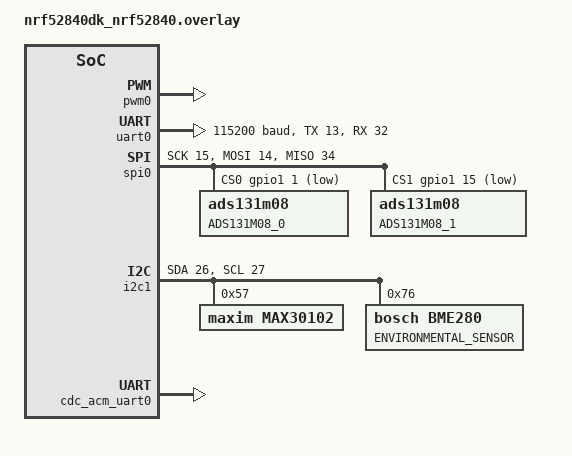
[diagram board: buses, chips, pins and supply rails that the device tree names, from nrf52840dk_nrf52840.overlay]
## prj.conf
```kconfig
CONFIG_INIT_STACKS=y
CONFIG_THREAD_STACK_INFO=y
CONFIG_MAIN_STACK_SIZE=2048
CONFIG_SYSTEM_WORKQUEUE_STACK_SIZE=4096
CONFIG_BT_RX_STACK_SIZE=4096

# PWM
CONFIG_PWM=y
CONFIG_PWM_NRF5_SW=n
CONFIG_PWM_NRFX=y


CONFIG_GPIO=y
CONFIG_SPI=y
#CONFIG_SPI_0=y

# choose UART console
CONFIG_UART_CONSOLE=y

# Debug config
CONFIG_LOG=y
CONFIG_LOG_BUFFER_SIZE=2048
CONFIG_LOG_DEFAULT_LEVEL=4
# RTT Viewer
CONFIG_USE_SEGGER_RTT=y
CONFIG_LOG_BACKEND_RTT=y
#CONFIG_LOG_BACKEND_RTT_MODE_DROP=y
CONFIG_LOG_PRINTK=y

# BLE
CONFIG_BT=y
#CONFIG_BT_DEBUG_LOG=y
CONFIG_BT_PERIPHERAL=y
CONFIG_BT_CENTRAL=y
CONFIG_BT_DEVICE_NAME="BT840"
CONFIG_BT_GATT_CLIENT=y
CONFIG_BT_HCI_ACL_FLOW_CONTROL=y
CONFIG_BT_USER_PHY_UPDATE=y
CONFIG_BT_CTLR_PHY_2M=y
CONFIG_BT_CTLR_PHY_CODED=n
CONFIG_BT_ATT_PREPARE_COUNT=10
CONFIG_BT_CONN_TX_MAX=10
CONFIG_BT_L2CAP_TX_BUF_COUNT=10
CONFIG_BT_BUF_ACL_TX_SIZE=250
CONFIG_BT_BUF_ACL_RX_SIZE=250
CONFIG_BT_L2CAP_TX_MTU=250

# C++
CONFIG_CPLUSPLUS=y
CONFIG_LIB_CPLUSPLUS=y
CONFIG_NEWLIB_LIBC=y
#if  printf should be able to print float
CONFIG_NEWLIB_LIBC_FLOAT_PRINTF=y

#MAX30102
CONFIG_I2C=y

#BME280
CONFIG_SENSOR=y
CONFIG_BME280=y

#I2S AudioModule
CONFIG_I2S=y

# Digital Microphone (DMIC) Module
CONFIG_AUDIO=y
CONFIG_AUDIO_DMIC=y

# For FFT implementation
CONFIG_CMSIS_DSP=y
CONFIG_CMSIS_DSP_TRANSFORM=y
CONFIG_CMSIS_DSP_COMPLEXMATH=y
CONFIG_NEWLIB_LIBC=y
CONFIG_FPU=y

#USB transfer
CONFIG_USB_DEVICE_STACK=y
CONFIG_USB_DEVICE_PRODUCT="BT840"
# CONFIG_USB_DRIVER_LOG_LEVEL_ERR=y
# CONFIG_USB_DEVICE_LOG_LEVEL_ERR=y
CONFIG_SERIAL=y
# CONFIG_UART_CONSOLE=y
CONFIG_CONSOLE=n
CONFIG_UART_LINE_CTRL=y
CONFIG_UART_ASYNC_API=y
#CONFIG_UART_INTERRUPT_DRIVEN=y

CONFIG_HEAP_MEM_POOL_SIZE=2048

# Needed for FOTA
########################################################
# Enable mcumgr.
CONFIG_MCUMGR=y

# Ensure an MCUboot-compatible binary is generated.
CONFIG_BOOTLOADER_MCUBOOT=y
#CONFIG_NCS_SAMPLE_MCUMGR_BT_OTA_DFU=y

# Enable most core commands.
CONFIG_MCUMGR_CMD_IMG_MGMT=y
CONFIG_MCUMGR_CMD_OS_MGMT=y

# MCUboot log level
CONFIG_MCUBOOT_UTIL_LOG_LEVEL_WRN=y

# Allow for large Bluetooth data packets.
CONFIG_BT_L2CAP_TX_MTU=252
CONFIG_BT_BUF_ACL_RX_SIZE=256

# Enable the Bluetooth (unauthenticated) and shell mcumgr transports.
CONFIG_MCUMGR_SMP_BT=y
CONFIG_MCUMGR_SMP_BT_AUTHEN=n
CONFIG_MCUMGR_SMP_BT_CONN_PARAM_CONTROL=y
########################################################
```

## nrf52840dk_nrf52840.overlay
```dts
// To get started, press Ctrl+Space to bring up the completion menu and view the available nodes.
// For more help, browse the DeviceTree documentation at https: //docs.zephyrproject.org/latest/guides/dts/index.html

&pwm0 {
	status = "okay";
	ch0-pin = <37>;
	//ch0-inverted;
};

&uart0 {
    status = "okay";
    current-speed = <115200>;
    tx-pin = <13>; //15 (BC840M), 13 (BT840)
    rx-pin = <32>; //14 (BC840M), 32 (BT840)
    rts-pin = <0xFFFFFFFF>;
    cts-pin = <0xFFFFFFFF>;
};

&spi0 {
    compatible = "nordic,nrf-spim";
    status = "okay";
    sck-pin =  <15>;         //44 (BC840M),  15 (BT840)
    mosi-pin = <14>; //DIN   //35 (BC840M),  14 (BT840)
    miso-pin = <34>; //DOUT  //34 (BC840M),  34 (BT840)
    cs-gpios = <&gpio1 1 GPIO_ACTIVE_LOW>, <&gpio1 15 GPIO_ACTIVE_LOW>; //1.15 and 1.10 (BC840M), 1.01 and 1.15 (BT840)

    ads131m08_0: ads131m08@0 {
        status = "okay";
        reg = <0>;
        label = "ADS131M08_0";
    };

    ads131m08_1: ads131m08@1 {
        status = "okay";
        reg = <1>;
        label = "ADS131M08_1";
    };
};

&spi1 {
    status = "disabled";
};

&i2c0 {
    status = "disabled";
};

&i2c1 {
    status = "okay";
    sda-pin = <26>; //5 (BC840M), 26 (BT840)
    scl-pin = <27>; //3 (BC840M), 27 (BT840)
    max30102@57 {
        compatible = "maxim,max30102";
        label = "MAX30102";
        reg = <0x57>;
        mode = <2>;
        status = "okay";
    };
    bme280: bme280@76 {
        /* 0x76 - SDO <-> GND */
        /* 0x77 - SDO <-> VCC */
        compatible = "bosch,bme280";
        reg = <0x76>;
        label = "ENVIRONMENTAL_SENSOR";
    };
};

&zephyr_udc0 {
    cdc_acm_uart0 {
        compatible = "zephyr,cdc-acm-uart";
        label = "CDC_ACM_0";
    };
};


// &clock {
//     hfclkaudio-frequency = <11289600>;
// };

// i2s_rxtx: &i2s0 {
//     status = "okay";
//     sck-pin = <45>;
//     lrck-pin = <46>;
//     sdout-pin = <4>;
//     sdin-pin = <42>;
//     clock-source = "ACLK";
// };

// dmic_dev: &pdm0 {
// 	status = "okay";
// 	clk-pin = <40>;
// 	din-pin = <35>;
// 	clock-source = "ACLK";
// };
```

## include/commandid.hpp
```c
#pragma once

#include <stddef.h>

/**
 * @brief Ids for commands sent via ble Gatt control characteristic
 */
enum class CommandId : uint8_t
{
    Ads131m08Cmd = 1,
    Bme280Cmd = 2,
    Max30102Cmd = 3,
    Mpu6050Cmd = 4,
    Qmc5883lCmd = 5,
    AlarmCmd = 6,  ///< Start/Stop playing Alarm
    DmicCmd = 7,   ///< Commands for Digital Microphone (DMIC)
    BleCmd = 8,    ///< Command for start/stop looking for iBeacon devices
    SystemCmd = 9, ///< For sending commands on the app/system level from where we can control every sensor/module
};
```

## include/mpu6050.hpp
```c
#pragma once

#include <zephyr/types.h>
#include <device.h>
#include <drivers/gpio.h>
//#include <drivers/i2c.h>
#include <sys/util.h>
#include <atomic>
#include "i2c_transport.hpp"
#include "device_string.hpp"
#include "ble_types.hpp"
#include "ble_commands.hpp"

class UsbCommHandler;

#define MPU6050_ADDRESS_AD0_LOW     0x68 // address pin low (GND), default for InvenSense evaluation board
#define MPU6050_ADDRESS_AD0_HIGH    0x69 // address pin high (VCC)
#define MPU6050_DEFAULT_ADDRESS     MPU6050_ADDRESS_AD0_LOW

#define MPU6050_RA_XG_OFFS_TC       0x00 //[7] PWR_MODE, [6:1] XG_OFFS_TC, [0] OTP_BNK_VLD
#define MPU6050_RA_YG_OFFS_TC       0x01 //[7] PWR_MODE, [6:1] YG_OFFS_TC, [0] OTP_BNK_VLD
#define MPU6050_RA_ZG_OFFS_TC       0x02 //[7] PWR_MODE, [6:1] ZG_OFFS_TC, [0] OTP_BNK_VLD
#define MPU6050_RA_X_FINE_GAIN      0x03 //[7:0] X_FINE_GAIN
#define MPU6050_RA_Y_FINE_GAIN      0x04 //[7:0] Y_FINE_GAIN
#define MPU6050_RA_Z_FINE_GAIN      0x05 //[7:0] Z_FINE_GAIN
#define MPU6050_RA_XA_OFFS_H        0x06 //[15:0] XA_OFFS
#define MPU6050_RA_XA_OFFS_L_TC     0x07
#define MPU6050_RA_YA_OFFS_H        0x08 //[15:0] YA_OFFS
#define MPU6050_RA_YA_OFFS_L_TC     0x09
#define MPU6050_RA_ZA_OFFS_H        0x0A //[15:0] ZA_OFFS
#define MPU6050_RA_ZA_OFFS_L_TC     0x0B
#define MPU6050_RA_SELF_TEST_X      0x0D //[7:5] XA_TEST[4-2], [4:0] XG_TEST[4-0]
#define MPU6050_RA_SELF_TEST_Y      0x0E //[7:5] YA_TEST[4-2], [4:0] YG_TEST[4-0]
#define MPU6050_RA_SELF_TEST_Z      0x0F //[7:5] ZA_TEST[4-2], [4:0] ZG_TEST[4-0]
#define MPU6050_RA_SELF_TEST_A      0x10 //[5:4] XA_TEST[1-0], [3:2] YA_TEST[1-0], [1:0] ZA_TEST[1-0]
#define MPU6050_RA_XG_OFFS_USRH     0x13 //[15:0] XG_OFFS_USR
#define MPU6050_RA_XG_OFFS_USRL     0x14
#define MPU6050_RA_YG_OFFS_USRH     0x15 //[15:0] YG_OFFS_USR
#define MPU6050_RA_YG_OFFS_USRL     0x16
#define MPU6050_RA_ZG_OFFS_USRH     0x17 //[15:0] ZG_OFFS_USR
#define MPU6050_RA_ZG_OFFS_USRL     0x18
#define MPU6050_RA_SMPLRT_DIV       0x19
#define MPU6050_RA_CONFIG           0x1A
#define MPU6050_RA_GYRO_CONFIG      0x1B
#define MPU6050_RA_ACCEL_CONFIG     0x1C
#define MPU6050_RA_FF_THR           0x1D
#define MPU6050_RA_FF_DUR           0x1E
#define MPU6050_RA_MOT_THR          0x1F
#define MPU6050_RA_MOT_DUR          0x20
#define MPU6050_RA_ZRMOT_THR        0x21
#define MPU6050_RA_ZRMOT_DUR        0x22
#define MPU6050_RA_FIFO_EN          0x23
#define MPU6050_RA_I2C_MST_CTRL     0x24
#define MPU6050_RA_I2C_SLV0_ADDR    0x25
#define MPU6050_RA_I2C_SLV0_REG     0x26
#define MPU6050_RA_I2C_SLV0_CTRL    0x27
#define MPU6050_RA_I2C_SLV1_ADDR    0x28
#define MPU6050_RA_I2C_SLV1_REG     0x29
#define MPU6050_RA_I2C_SLV1_CTRL    0x2A
#define MPU6050_RA_I2C_SLV2_ADDR    0x2B
#define MPU6050_RA_I2C_SLV2_REG     0x2C
#define MPU6050_RA_I2C_SLV2_CTRL    0x2D
#define MPU6050_RA_I2C_SLV3_ADDR    0x2E
#define MPU6050_RA_I2C_SLV3_REG     0x2F
#define MPU6050_RA_I2C_SLV3_CTRL    0x30
#define MPU6050_RA_I2C_SLV4_ADDR    0x31
#define MPU6050_RA_I2C_SLV4_REG     0x32
#define MPU6050_RA_I2C_SLV4_DO      0x33
#define MPU6050_RA_I2C_SLV4_CTRL    0x34
#define MPU6050_RA_I2C_SLV4_DI      0x35
#define MPU6050_RA_I2C_MST_STATUS   0x36
#define MPU6050_RA_INT_PIN_CFG      0x37
#define MPU6050_RA_INT_ENABLE       0x38
#define MPU6050_RA_DMP_INT_STATUS   0x39
#define MPU6050_RA_INT_STATUS       0x3A
#define MPU6050_RA_ACCEL_XOUT_H     0x3B
#define MPU6050_RA_ACCEL_XOUT_L     0x3C
#define MPU6050_RA_ACCEL_YOUT_H     0x3D
#define MPU6050_RA_ACCEL_YOUT_L     0x3E
#define MPU6050_RA_ACCEL_ZOUT_H     0x3F
#define MPU6050_RA_ACCEL_ZOUT_L     0x40
#define MPU6050_RA_TEMP_OUT_H       0x41
#define MPU6050_RA_TEMP_OUT_L       0x42
#define MPU6050_RA_GYRO_XOUT_H      0x43
#define MPU6050_RA_GYRO_XOUT_L      0x44
#define MPU6050_RA_GYRO_YOUT_H      0x45
#define MPU6050_RA_GYRO_YOUT_L      0x46
#define MPU6050_RA_GYRO_ZOUT_H      0x47
#define MPU6050_RA_GYRO_ZOUT_L      0x48
#define MPU6050_RA_EXT_SENS_DATA_00 0x49
#define MPU6050_RA_EXT_SENS_DATA_01 0x4A
#define MPU6050_RA_EXT_SENS_DATA_02 0x4B
#define MPU6050_RA_EXT_SENS_DATA_03 0x4C
#define MPU6050_RA_EXT_SENS_DATA_04 0x4D
#define MPU6050_RA_EXT_SENS_DATA_05 0x4E
#define MPU6050_RA_EXT_SENS_DATA_06 0x4F
#define MPU6050_RA_EXT_SENS_DATA_07 0x50
#define MPU6050_RA_EXT_SENS_DATA_08 0x51
#define MPU6050_RA_EXT_SENS_DATA_09 0x52
#define MPU6050_RA_EXT_SENS_DATA_10 0x53
#define MPU6050_RA_EXT_SENS_DATA_11 0x54
#define MPU6050_RA_EXT_SENS_DATA_12 0x55
#define MPU6050_RA_EXT_SENS_DATA_13 0x56
#define MPU6050_RA_EXT_SENS_DATA_14 0x57
#define MPU6050_RA_EXT_SENS_DATA_15 0x58
#define MPU6050_RA_EXT_SENS_DATA_16 0x59
#define MPU6050_RA_EXT_SENS_DATA_17 0x5A
#define MPU6050_RA_EXT_SENS_DATA_18 0x5B
#define MPU6050_RA_EXT_SENS_DATA_19 0x5C
#define MPU6050_RA_EXT_SENS_DATA_20 0x5D
#define MPU6050_RA_EXT_SENS_DATA_21 0x5E
#define MPU6050_RA_EXT_SENS_DATA_22 0x5F
#define MPU6050_RA_EXT_SENS_DATA_23 0x60
#define MPU6050_RA_MOT_DETECT_STATUS    0x61
#define MPU6050_RA_I2C_SLV0_DO      0x63
#define MPU6050_RA_I2C_SLV1_DO      0x64
#define MPU6050_RA_I2C_SLV2_DO      0x65
#define MPU6050_RA_I2C_SLV3_DO      0x66
#define MPU6050_RA_I2C_MST_DELAY_CTRL   0x67
#define MPU6050_RA_SIGNAL_PATH_RESET    0x68
#define MPU6050_RA_MOT_DETECT_CTRL      0x69
#define MPU6050_RA_USER_CTRL        0x6A
#define MPU6050_RA_PWR_MGMT_1       0x6B
#define MPU6050_RA_PWR_MGMT_2       0x6C
#define MPU6050_RA_BANK_SEL         0x6D
#define MPU6050_RA_MEM_START_ADDR   0x6E
#define MPU6050_RA_MEM_R_W          0x6F
#define MPU6050_RA_DMP_CFG_1        0x70
#define MPU6050_RA_DMP_CFG_2        0x71
#define MPU6050_RA_FIFO_COUNTH      0x72
#define MPU6050_RA_FIFO_COUNTL      0x73
#define MPU6050_RA_FIFO_R_W         0x74
#define MPU6050_RA_WHO_AM_I         0x75

#define MPU6050_SELF_TEST_XA_1_BIT     0x07
#define MPU6050_SELF_TEST_XA_1_LENGTH  0x03
#define MPU6050_SELF_TEST_XA_2_BIT     0x05
#define MPU6050_SELF_TEST_XA_2_LENGTH  0x02
#define MPU6050_SELF_TEST_YA_1_BIT     0x07
#define MPU6050_SELF_TEST_YA_1_LENGTH  0x03
#define MPU6050_SELF_TEST_YA_2_BIT     0x03
#define MPU6050_SELF_TEST_YA_2_LENGTH  0x02
#define MPU6050_SELF_TEST_ZA_1_BIT     0x07
#define MPU6050_SELF_TEST_ZA_1_LENGTH  0x03
#define MPU6050_SELF_TEST_ZA_2_BIT     0x01
#define MPU6050_SELF_TEST_ZA_2_LENGTH  0x02

#define MPU6050_SELF_TEST_XG_1_BIT     0x04
#define MPU6050_SELF_TEST_XG_1_LENGTH  0x05
#define MPU6050_SELF_TEST_YG_1_BIT     0x04
#define MPU6050_SELF_TEST_YG_1_LENGTH  0x05
#define MPU6050_SELF_TEST_ZG_1_BIT     0x04
#define MPU6050_SELF_TEST_ZG_1_LENGTH  0x05

#define MPU6050_TC_PWR_MODE_BIT     7
#define MPU6050_TC_OFFSET_BIT       6
#define MPU6050_TC_OFFSET_LENGTH    6
#define MPU6050_TC_OTP_BNK_VLD_BIT  0

#define MPU6050_VDDIO_LEVEL_VLOGIC  0
#define MPU6050_VDDIO_LEVEL_VDD     1

#define MPU6050_CFG_EXT_SYNC_SET_BIT    5
#define MPU6050_CFG_EXT_SYNC_SET_LENGTH 3
#define MPU6050_CFG_DLPF_CFG_BIT    2
#define MPU6050_CFG_DLPF_CFG_LENGTH 3

#define MPU6050_EXT_SYNC_DISABLED       0x0
#define MPU6050_EXT_SYNC_TEMP_OUT_L     0x1
#define MPU6050_EXT_SYNC_GYRO_XOUT_L    0x2
#define MPU6050_EXT_SYNC_GYRO_YOUT_L    0x3
#define MPU6050_EXT_SYNC_GYRO_ZOUT_L    0x4
#define MPU6050_EXT_SYNC_ACCEL_XOUT_L   0x5
#define MPU6050_EXT_SYNC_ACCEL_YOUT_L   0x6
#define MPU6050_EXT_SYNC_ACCEL_ZOUT_L   0x7

#define MPU6050_DLPF_BW_256         0x00
#define MPU6050_DLPF_BW_188         0x01
#define MPU6050_DLPF_BW_98          0x02
#define MPU6050_DLPF_BW_42          0x03
#define MPU6050_DLPF_BW_20          0x04
#define MPU6050_DLPF_BW_10          0x05
#define MPU6050_DLPF_BW_5           0x06

#define MPU6050_GCONFIG_FS_SEL_BIT      4
#define MPU6050_GCONFIG_FS_SEL_LENGTH   2

#define MPU6050_GYRO_FS_250         0x00
#define MPU6050_GYRO_FS_500         0x01
#define MPU6050_GYRO_FS_1000        0x02
#define MPU6050_GYRO_FS_2000        0x03

#define MPU6050_ACONFIG_XA_ST_BIT           7
#define MPU6050_ACONFIG_YA_ST_BIT           6
#define MPU6050_ACONFIG_ZA_ST_BIT           5
#define MPU6050_ACONFIG_AFS_SEL_BIT         4
#define MPU6050_ACONFIG_AFS_SEL_LENGTH      2
#define MPU6050_ACONFIG_ACCEL_HPF_BIT       2
#define MPU6050_ACONFIG_ACCEL_HPF_LENGTH    3

#define MPU6050_ACCEL_FS_2          0x00
#define MPU6050_ACCEL_FS_4          0x01
#define MPU6050_ACCEL_FS_8          0x02
#define MPU6050_ACCEL_FS_16         0x03

#define MPU6050_DHPF_RESET          0x00
#define MPU6050_DHPF_5              0x01
#define MPU6050_DHPF_2P5            0x02
#define MPU6050_DHPF_1P25           0x03
#define MPU6050_DHPF_0P63           0x04
#define MPU6050_DHPF_HOLD           0x07

#define MPU6050_TEMP_FIFO_EN_BIT    7
#define MPU6050_XG_FIFO_EN_BIT      6
#define MPU6050_YG_FIFO_EN_BIT      5
#define MPU6050_ZG_FIFO_EN_BIT      4
#define MPU6050_ACCEL_FIFO_EN_BIT   3
#define MPU6050_SLV2_FIFO_EN_BIT    2
#define MPU6050_SLV1_FIFO_EN_BIT    1
#define MPU6050_SLV0_FIFO_EN_BIT    0

#define MPU6050_MULT_MST_EN_BIT     7
#define MPU6050_WAIT_FOR_ES_BIT     6
#define MPU6050_SLV_3_FIFO_EN_BIT   5
#define MPU6050_I2C_MST_P_NSR_BIT   4
#define MPU6050_I2C_MST_CLK_BIT     3
#define MPU6050_I2C_MST_CLK_LENGTH  4

#define MPU6050_CLOCK_DIV_348       0x0
#define MPU6050_CLOCK_DIV_333       0x1
#define MPU6050_CLOCK_DIV_320       0x2
#define MPU6050_CLOCK_DIV_308       0x3
#define MPU6050_CLOCK_DIV_296       0x4
#define MPU6050_CLOCK_DIV_286       0x5
#define MPU6050_CLOCK_DIV_276       0x6
#define MPU6050_CLOCK_DIV_267       0x7
#define MPU6050_CLOCK_DIV_258       0x8
#define MPU6050_CLOCK_DIV_500       0x9
#define MPU6050_CLOCK_DIV_471       0xA
#define MPU6050_CLOCK_DIV_444       0xB
#define MPU6050_CLOCK_DIV_421       0xC
#define MPU6050_CLOCK_DIV_400       0xD
#define MPU6050_CLOCK_DIV_381       0xE
#define MPU6050_CLOCK_DIV_364       0xF

#define MPU6050_I2C_SLV_RW_BIT      7
#define MPU6050_I2C_SLV_ADDR_BIT    6
#define MPU6050_I2C_SLV_ADDR_LENGTH 7
#define MPU6050_I2C_SLV_EN_BIT      7
#define MPU6050_I2C_SLV_BYTE_SW_BIT 6
#define MPU6050_I2C_SLV_REG_DIS_BIT 5
#define MPU6050_I2C_SLV_GRP_BIT     4
#define MPU6050_I2C_SLV_LEN_BIT     3
#define MPU6050_I2C_SLV_LEN_LENGTH  4

#define MPU6050_I2C_SLV4_RW_BIT         7
#define MPU6050_I2C_SLV4_ADDR_BIT       6
#define MPU6050_I2C_SLV4_ADDR_LENGTH    7
#define MPU6050_I2C_SLV4_EN_BIT         7
#define MPU6050_I2C_SLV4_INT_EN_BIT     6
#define MPU6050_I2C_SLV4_REG_DIS_BIT    5
#define MPU6050_I2C_SLV4_MST_DLY_BIT    4
#define MPU6050_I2C_SLV4_MST_DLY_LENGTH 5

#define MPU6050_MST_PASS_THROUGH_BIT    7
#define MPU6050_MST_I2C_SLV4_DONE_BIT   6
#define MPU6050_MST_I2C_LOST_ARB_BIT    5
#define MPU6050_MST_I2C_SLV4_NACK_BIT   4
#define MPU6050_MST_I2C_SLV3_NACK_BIT   3
#define MPU6050_MST_I2C_SLV2_NACK_BIT   2
#define MPU6050_MST_I2C_SLV1_NACK_BIT   1
#define MPU6050_MST_I2C_SLV0_NACK_BIT   0

#define MPU6050_INTCFG_INT_LEVEL_BIT        7
#define MPU6050_INTCFG_INT_OPEN_BIT         6
#define MPU6050_INTCFG_LATCH_INT_EN_BIT     5
#define MPU6050_INTCFG_INT_RD_CLEAR_BIT     4
#define MPU6050_INTCFG_FSYNC_INT_LEVEL_BIT  3
#define MPU6050_INTCFG_FSYNC_INT_EN_BIT     2
#define MPU6050_INTCFG_I2C_BYPASS_EN_BIT    1
#define MPU6050_INTCFG_CLKOUT_EN_BIT        0

#define MPU6050_INTMODE_ACTIVEHIGH  0x00
#define MPU6050_INTMODE_ACTIVELOW   0x01

#define MPU6050_INTDRV_PUSHPULL     0x00
#define MPU6050_INTDRV_OPENDRAIN    0x01

#define MPU6050_INTLATCH_50USPULSE  0x00
#define MPU6050_INTLATCH_WAITCLEAR  0x01

#define MPU6050_INTCLEAR_STATUSREAD 0x00
#define MPU6050_INTCLEAR_ANYREAD    0x01

#define MPU6050_INTERRUPT_FF_BIT            7
#define MPU6050_INTERRUPT_MOT_BIT           6
#define MPU6050_INTERRUPT_ZMOT_BIT          5
#define MPU6050_INTERRUPT_FIFO_OFLOW_BIT    4
#define MPU6050_INTERRUPT_I2C_MST_INT_BIT   3
#define MPU6050_INTERRUPT_PLL_RDY_INT_BIT   2
#define MPU6050_INTERRUPT_DMP_INT_BIT       1
#define MPU6050_INTERRUPT_DATA_RDY_BIT      0

// TODO: figure out what these actually do
// UMPL source code is not very obivous
#define MPU6050_DMPINT_5_BIT            5
#define MPU6050_DMPINT_4_BIT            4
#define MPU6050_DMPINT_3_BIT            3
#define MPU6050_DMPINT_2_BIT            2
#define MPU6050_DMPINT_1_BIT            1
#define MPU6050_DMPINT_0_BIT            0

#define MPU6050_MOTION_MOT_XNEG_BIT     7
#define MPU6050_MOTION_MOT_XPOS_BIT     6
#define MPU6050_MOTION_MOT_YNEG_BIT     5
#define MPU6050_MOTION_MOT_YPOS_BIT     4
#define MPU6050_MOTION_MOT_ZNEG_BIT     3
#define MPU6050_MOTION_MOT_ZPOS_BIT     2
#define MPU6050_MOTION_MOT_ZRMOT_BIT    0

#define MPU6050_DELAYCTRL_DELAY_ES_SHADOW_BIT   7
#define MPU6050_DELAYCTRL_I2C_SLV4_DLY_EN_BIT   4
#define MPU6050_DELAYCTRL_I2C_SLV3_DLY_EN_BIT   3
#define MPU6050_DELAYCTRL_I2C_SLV2_DLY_EN_BIT   2
#define MPU6050_DELAYCTRL_I2C_SLV1_DLY_EN_BIT   1
#define MPU6050_DELAYCTRL_I2C_SLV0_DLY_EN_BIT   0

#define MPU6050_PATHRESET_GYRO_RESET_BIT    2
#define MPU6050_PATHRESET_ACCEL_RESET_BIT   1
#define MPU6050_PATHRESET_TEMP_RESET_BIT    0

#define MPU6050_DETECT_ACCEL_ON_DELAY_BIT       5
#define MPU6050_DETECT_ACCEL_ON_DELAY_LENGTH    2
#define MPU6050_DETECT_FF_COUNT_BIT             3
#define MPU6050_DETECT_FF_COUNT_LENGTH          2
#define MPU6050_DETECT_MOT_COUNT_BIT            1
#define MPU6050_DETECT_MOT_COUNT_LENGTH         2

#define MPU6050_DETECT_DECREMENT_RESET  0x0
#define MPU6050_DETECT_DECREMENT_1      0x1
#define MPU6050_DETECT_DECREMENT_2      0x2
#define MPU6050_DETECT_DECREMENT_4      0x3

#define MPU6050_USERCTRL_DMP_EN_BIT             7
#define MPU6050_USERCTRL_FIFO_EN_BIT            6
#define MPU6050_USERCTRL_I2C_MST_EN_BIT         5
#define MPU6050_USERCTRL_I2C_IF_DIS_BIT         4
#define MPU6050_USERCTRL_DMP_RESET_BIT          3
#define MPU6050_USERCTRL_FIFO_RESET_BIT         2
#define MPU6050_USERCTRL_I2C_MST_RESET_BIT      1
#define MPU6050_USERCTRL_SIG_COND_RESET_BIT     0

#define MPU6050_PWR1_DEVICE_RESET_BIT   7
#define MPU6050_PWR1_SLEEP_BIT          6
#define MPU6050_PWR1_CYCLE_BIT          5
#define MPU6050_PWR1_TEMP_DIS_BIT       3
#define MPU6050_PWR1_CLKSEL_BIT         2
#define MPU6050_PWR1_CLKSEL_LENGTH      3

#define MPU6050_CLOCK_INTERNAL          0x00
#define MPU6050_CLOCK_PLL_XGYRO         0x01
#define MPU6050_CLOCK_PLL_YGYRO         0x02
#define MPU6050_CLOCK_PLL_ZGYRO         0x03
#define MPU6050_CLOCK_PLL_EXT32K        0x04
#define MPU6050_CLOCK_PLL_EXT19M        0x05
#define MPU6050_CLOCK_KEEP_RESET        0x07

#define MPU6050_PWR2_LP_WAKE_CTRL_BIT       7
#define MPU6050_PWR2_LP_WAKE_CTRL_LENGTH    2
#define MPU6050_PWR2_STBY_XA_BIT            5
#define MPU6050_PWR2_STBY_YA_BIT            4
#define MPU6050_PWR2_STBY_ZA_BIT            3
#define MPU6050_PWR2_STBY_XG_BIT            2
#define MPU6050_PWR2_STBY_YG_BIT            1
#define MPU6050_PWR2_STBY_ZG_BIT            0

#define MPU6050_WAKE_FREQ_1P25      0x0
#define MPU6050_WAKE_FREQ_2P5       0x1
#define MPU6050_WAKE_FREQ_5         0x2
#define MPU6050_WAKE_FREQ_10        0x3

#define MPU6050_BANKSEL_PRFTCH_EN_BIT       6
#define MPU6050_BANKSEL_CFG_USER_BANK_BIT   5
#define MPU6050_BANKSEL_MEM_SEL_BIT         4
#define MPU6050_BANKSEL_MEM_SEL_LENGTH      5

#define MPU6050_WHO_AM_I_BIT        6
#define MPU6050_WHO_AM_I_LENGTH     6

#define MPU6050_DMP_MEMORY_BANKS        8
#define MPU6050_DMP_MEMORY_BANK_SIZE    256
#define MPU6050_DMP_MEMORY_CHUNK_SIZE   16

#define MPU6050_FIFO_DEFAULT_TIMEOUT 11000

    struct mpu6050_config {
        uint8_t sample_rate_config;
        uint8_t config_reg;
        uint8_t gyro_config;
        uint8_t accel_config;
        uint8_t fifo_config;
        uint8_t interrupt_pin_config;
        uint8_t interrupt_config;
        uint8_t user_control;
        uint8_t pwr_mgmt_1;
        uint8_t pwr_mgmt_2;
    };

/**
 * @brief MPU6050 driver
 */
class Mpu6050 {

    using I2C_1DeviceName = DeviceString<'I', '2', 'C', '_', '1'>; 
    constexpr static uint8_t mpu6050_id = 0x68; // Part ID
    uint8_t tx_buf[250] = {};

public:
    /**
     * @brief Construct a new Mpu6050 object
     */
    Mpu6050(UsbCommHandler &controller);

    /**
     * @brief Initialization function. Used to perform actual initialization. Because of software stack initialization
     * could not be done in constructor
     * @return Status, 0 for no errors
     */
    int Initialize();    

    /**
     * @brief Configure Mpu6050 device
     * 
     * @param config Configuration details
     * @return Status, 0 for no errors
     */
    int Configure(mpu6050_config config);

    /**
     * @brief Start taking Accel and Gyro samples
     */
    void StartSampling();    

    /**
     * @brief Stop taking Accel and Gyro samples
     */
    void StopSampling();

    /**
     * @brief Get Mpu6050 Die Temperature.
     */
    void GetDieTemperature();    

    /**
     * @brief Handle Mpu6050 Interrupt. Figure out interrupt reason and take the appropriate action
     */
    void HandleInterrupt(); 

    /**
     * @brief Check if Mpu6050 device is connected to I2C bus
     */
    bool IsOnI2cBus(); 

private:
    /**
     * @brief Reset Mpu6050 device
     */
    void Reset();

    /**
     * @brief Shutdown Mpu6050 device
     */
    void Shutdown();

    /**
     * @brief Wakeup Mpu6050 device
     */
    void Wakeup();

    /**
     * @brief Called when trigger mode is received via BLE
     * 
     * @param buffer receviced buffer
     * @param length buffer length
     * @param offset data offset
     * 
     * @return true if command was processed succesfully
     */
    bool OnBleCommand(const uint8_t* buffer, Bluetooth::CommandKey key, Bluetooth::BleLength length, Bluetooth::BleOffset offset);

    /**
     * @brief Read Temperature Registers
     */
    void TemperatureRead();
    uint8_t sample_cnt;
    uint8_t packet_cnt;
    std::atomic<bool> mpu6050_is_on_i2c_bus_; ///< Device status
    I2CTransport<I2C_1DeviceName, MPU6050_DEFAULT_ADDRESS> transport; ///< I2C transport for device
    UsbCommHandler &serialHandler; ///< USB communication controller

};
```

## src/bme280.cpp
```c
#include "bme280.hpp"
// For registering callback
#include "ble_service.hpp"

LOG_MODULE_REGISTER(bme280, LOG_LEVEL_INF);

Bme280::Bme280(UsbCommHandler &controller) : serialHandler(controller) {
    LOG_INF("Bme280 Constructor!");
    k_timer_init(&timer, &Bme280::TimerHandler, nullptr);
    k_sem_init(&pollSemaphore, 0, 1);    
}

int Bme280::Initialize() {

    int ret = 0;
    uint8_t part_id;
    
    LOG_INF("Starting Bme280 Initialization..."); 
    
    packet_cnt = 0;
    sample_cnt = 0;
    bme280_dev = get_bme280_device();

    if (bme280_dev != nullptr){
        GetChipId(bme280_dev);
        // Start working thread
        k_thread_create(&worker, pollStackArea, K_THREAD_STACK_SIZEOF(pollStackArea),
                        &WorkingThread, this, nullptr, nullptr, taskPriority, 0, K_NO_WAIT);        
    } else {
        bme280_is_on_i2c_bus_.store(false, std::memory_order_relaxed);
        bmp280_is_on_i2c_bus_.store(false, std::memory_order_relaxed);
        bmx_id = 0x00;
        return -1;        
    }

    Bluetooth::GattRegisterControlCallback(CommandId::Bme280Cmd,
        [this](const uint8_t *buffer, Bluetooth::CommandKey key, Bluetooth::BleLength length, Bluetooth::BleOffset offset)
        {
            return OnBleCommand(buffer, key, length, offset);
        });

    return ret;
}

bool Bme280::OnBleCommand(const uint8_t *buffer, Bluetooth::CommandKey key, Bluetooth::BleLength length, Bluetooth::BleOffset offset){
    if (offset.value != 0 || length.value == 0)
    {
        return false;
    }
    LOG_DBG("Bme280 BLE Command received");

    Bluetooth::CommandKey bleCommand;
    memcpy(&bleCommand, &key, sizeof(key));
          
    switch(bleCommand.key[0]){
        case static_cast<uint8_t>(BleCommand::StartSampling):
            StartSampling();
            break;
        case static_cast<uint8_t>(BleCommand::StopSampling):
            StopSampling();
            break;
        
        default:
            break;
    }
    
    return true;
}

void Bme280::GetChipId(const struct device *dev){
    struct bme280_data *data = ToData(dev);

    bmx_id = data->chip_id;
    if(data->chip_id == bme280_id){
        LOG_INF("BME280 on I2C bus!");
        bme280_is_on_i2c_bus_.store(true, std::memory_order_relaxed);
    } else if (data->chip_id == bmp280_id_sample_1 || data->chip_id == bmp280_id_mp){
        LOG_INF("BMP280 on I2C bus!");
        bmp280_is_on_i2c_bus_.store(true, std::memory_order_relaxed);
    }
}
const struct device * Bme280::get_bme280_device(void){
	
    const struct device *dev = DEVICE_DT_GET_ANY(bosch_bme280);

	if (dev == nullptr) {
		/* No such node, or the node does not have status "okay". */
		LOG_ERR("\nError: no BME280 device found.\n");
		return nullptr;
	}

	if (!device_is_ready(dev)) {
		LOG_ERR("\nError: Device \"%s\" is not ready; "
		       "check the driver initialization logs for errors.\n",
		       dev->name);        
		return nullptr;
	}

	LOG_INF("Found device \"%s\", getting sensor data\n", dev->name);
	return dev;    
}

struct bme280_data * Bme280::ToData(const struct device *dev){
    return static_cast<bme280_data *>(dev->data);
}

void Bme280::StartSampling(){
    // Start BME280 polling
    k_timer_start(&timer, K_MSEC(pollPeriod), K_MSEC(pollPeriod));
}   

void Bme280::StopSampling(){
    k_timer_stop(&timer);
}

bool Bme280::BmX280IsOnI2cBus(){
    bool status;
    // Return TRUE if either of BMP280 or BME280 is on I2C bus
    status = (bme280_is_on_i2c_bus_.load(std::memory_order_relaxed) || bmp280_is_on_i2c_bus_.load(std::memory_order_relaxed));
    return status;
}

bool Bme280::Bme280IsOnI2cBus(){
    bool status;
    // Return TRUE if BME280 is on I2C bus
    status = bme280_is_on_i2c_bus_.load(std::memory_order_relaxed);
    return status;
}
```

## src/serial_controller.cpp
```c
#include "serial_controller.hpp"

#include <algorithm>
#include <string.h>

#include <sys/crc.h>

#include <stdio.h>
#include <device.h>
#include <drivers/uart.h>
#include <zephyr.h>
#include <sys/ring_buffer.h>

#include <usb/usb_device.h>
#include <logging/log.h>

LOG_MODULE_REGISTER(usb_serial);

namespace
{
    constexpr static size_t metadataSize = 5;
    constexpr static size_t headerSize = 4;
    constexpr static size_t smallPacketSize = 2;
    constexpr static size_t minFullPacketSize = 6;

    constexpr static size_t packetHeader0 = 0;
    constexpr static size_t packetHeader1 = 1;
    constexpr static size_t packetHeaderMessageId = 2;
    constexpr static size_t packetHeaderMessageLength = 3;

    constexpr static uint8_t headerValue = 0xF0;
    constexpr static uint8_t headerNegValue = 0xB0;
    constexpr static uint8_t headerAckValue = 0xA0;

    constexpr static uint8_t crcPolynom = 0x31;
    constexpr static uint8_t crcInitilalValue = 0xFF;

    /**
     * @brief Command execution step
     */
    enum class CommandState
    {
        SendCommand,  ///< Sendind command via uart
        WaitResponse, ///< Getting response
        Done,         ///< Command is completed
    };

    constexpr static int serialPortStackSize = 512;
    constexpr static int serialPortTaskPriority = 1;

    K_THREAD_STACK_DEFINE(my_stack_area, serialPortStackSize); ///< Serial controller working task stack
    k_thread worker;                                           ///< worker thread

    std::atomic<TransferStatus> serialStatus; ///< Status of last operation
}

/**
 * @brief Construct Serial Controller.
 * @note Only one instance could be constructed
 */
SerialController::SerialController()
{
    LOG_INF("Serial Controller Constructor!");
    k_sem_init(&rxSem, 0, 1);
    k_sem_init(&txSem, 0, 1);

    serialStatus.store(TransferStatus::Ok, std::memory_order_relaxed);
    serial_is_initialized_.store(false, std::memory_order_relaxed);
}

/**
 * @brief Initialization function. Used to perform actual initialization. Because of software stack initialization
 * could not be done in constructor
 */
void SerialController::Initialize()
{
    
    uint32_t baudrate, dtr = 0U;
	int ret;

    k_msgq_init(&messageQueue, static_cast<char *>(static_cast<void *>(buffer)), sizeof(SerialTransfer *), MaxEntryCount);

    // Start working thread
    k_thread_create(&worker, my_stack_area, K_THREAD_STACK_SIZEOF(my_stack_area),
                    &SerialController::WorkingThread, this, nullptr, nullptr, serialPortTaskPriority, 0, K_NO_WAIT);

	dev = DEVICE_DT_GET_ONE(zephyr_cdc_acm_uart);
	if (!device_is_ready(dev)) {
		LOG_ERR("CDC ACM device not ready");
		return;
	}

	ret = usb_enable(NULL);
	if (ret != 0) {
		LOG_ERR("Failed to enable USB");
		return;
	}
}

/**
 * @brief Queues transfer via serial port
 * 
 * @param task queued task
 * @return true if task was successfully added to queue, false owtherwise
 */
bool SerialController:: QueueTransfer(SerialTransfer *task)
{
    task->completed.store(false, std::memory_order_release);

    int status = k_msgq_put(&messageQueue, &task, K_NO_WAIT);

    return status == 0;
}

/**
 * @brief Get status of last operation
 * 
 * @return Status, 0 for no errors
 */
uint8_t SerialController::GetStatus()
{
    TransferStatus status = serialStatus.load(std::memory_order_relaxed);

    return static_cast<uint8_t>(status);
}

/**
 * @brief Thread used to manage serial controller task working queue and controls high level transfers.
 * 
 * @param data pointer to current instance of Serial controller
 */
void SerialController::WorkingThread(void *data, void *, void *)
{
    uint32_t baudrate, dtr = 0U;
	int ret;

    SerialController *self = static_cast<SerialController *>(data);

    //uart_callback_set(self->uartDevice, &SerialController::SerialPortCallback, self);
    //uart_irq_callback_set(self->dev, &SerialController::interrupt_handler);
    uart_irq_callback_user_data_set(self->dev, &SerialController::interrupt_handler, self);

	/* Enable rx interrupts */
	//uart_irq_rx_enable(self->dev);

    SerialTransfer *currentTask;

	LOG_INF("Wait for DTR");

	while (true) {
		uart_line_ctrl_get(self->dev, UART_LINE_CTRL_DTR, &dtr);
		if (dtr) {
			break;
		} else {
			/* Give CPU resources to low priority threads. */
			k_sleep(K_MSEC(500));
		}
	}

	LOG_INF("DTR set");

	/* They are optional, we use them to test the interrupt endpoint */
	ret = uart_line_ctrl_set(self->dev, UART_LINE_CTRL_DCD, 1);
	if (ret) {
		LOG_WRN("Failed to set DCD, ret code %d", ret);
	}

	ret = uart_line_ctrl_set(self->dev, UART_LINE_CTRL_DSR, 1);
	if (ret) {
		LOG_WRN("Failed to set DSR, ret code %d", ret);
	}

	/* Wait 1 sec for the host to do all settings */
	k_busy_wait(1000000);

	ret = uart_line_ctrl_get(self->dev, UART_LINE_CTRL_BAUD_RATE, &baudrate);
	if (ret) {
		LOG_WRN("Failed to get baudrate, ret code %d", ret);
	} else {
		LOG_INF("Baudrate detected: %d", baudrate);
	}
    self->serial_is_initialized_.store(true, std::memory_order_relaxed);    

    for (;;)
    {
        k_msgq_get(&self->messageQueue, &currentTask, K_FOREVER);

        TransferStatus status = TransferStatus::Ok;

        CommandState commandState = CommandState::SendCommand;

        k_sem_reset(&self->rxSem);
        k_sem_reset(&self->txSem);
        //LOG_INF("SerialController::WorkingThread");
        self->SendPacket(*currentTask->request);

        serialStatus.store(status, std::memory_order_relaxed);

        currentTask->completed.store(true, std::memory_order_release);

        if (currentTask->callback.handler)
        {
            k_work_submit(&currentTask->callback);
        }
    }
}

/**
 * @brief Prepare message buffer and send it via UART
 * 
 * @param packet serial packed to send
 * @return TransferStatus transfer result
 */
TransferStatus SerialController::SendPacket(const SerialPacket &packet)
{
    auto packetSize = SerializeCommand(packet);

    return SendInternal(packetSize);
}

/**
 * @brief Send Neg message.
 * 
 * @return TransferStatus transfer status
 */
TransferStatus SerialController::SendNeg()
{
    sendBuffer[packetHeader0] = headerNegValue;
    sendBuffer[packetHeader1] = headerNegValue;

    return SendInternal(smallPacketSize);
}

/**
 * @brief Sends prepared send buffer.
 * 
 * @param packetSize number of bytes to send
 * 
 * @return TransferStatus transfer status. Return TransferStatus::Timeout if timeout event occurs.
 */
TransferStatus SerialController::SendInternal(size_t packetSize)
{
    uint8_t dummy;
    //while (uart_poll_in(uartDevice, &dummy) == 0); // clear rx queue

    uart_irq_tx_enable(dev);

    uart_fifo_fill(dev, sendBuffer, packetSize);

    int take_result = k_sem_take(&txSem, transferTimeout);

    if (take_result == -EAGAIN)
    {
        //uart_tx_abort(uartDevice);
        LOG_ERR("ERROR: taking semaphore");
        return TransferStatus::Timeout;
    }

    return TransferStatus::Ok;
}

/**
 * @brief Handles receive from connected UART
 * 
 * @param packet reference where received data should be stored
 * @return TransferStatus Transfer status.
 */
TransferStatus SerialController::Receive(SerialPacket &packet)
{
    int take_result = k_sem_take(&rxSem, transferTimeout);

    if (take_result == -EAGAIN)
    {
        uart_rx_disable(uartDevice);
        return TransferStatus::Timeout;
    }

    TransferStatus result = ParseBuffer(packet);

    return result;
}

/**
 * @brief Serialize packet into internal send buffer
 * 
 * @param packet packet to serialize
 * @return number of bytes in serial packet.
 */
size_t SerialController::SerializeCommand(const SerialPacket &packet)
{
    sendBuffer[packetHeader0] = headerValue;
    sendBuffer[packetHeader1] = headerValue;
    sendBuffer[packetHeaderMessageId] = packet.messageId;
    sendBuffer[packetHeaderMessageLength] = packet.length;
    memcpy(sendBuffer + headerSize, packet.dataPtr, packet.length);

    uint8_t crc = crc8(sendBuffer, packet.length + headerSize, crcPolynom, crcInitilalValue, false);

    sendBuffer[headerSize + packet.length] = crc;
    return packet.length + metadataSize;
}

/**
 * @brief Parse receive buffer and if receive buffer contains valid data writes them into output packet
 * 
 * @param packet reference to Serial port packet where response should be written.
 * @return TransferStatus transfer status
 */
TransferStatus SerialController::ParseBuffer(SerialPacket &packet)
{
    if (recvLength < smallPacketSize)
    {
        return TransferStatus::Error;
    }

    if (recvBuffer[packetHeader0] == headerAckValue && recvBuffer[packetHeader1] == headerAckValue)
    {
        packet.length = 0;
        return TransferStatus::Ack;
    }

    if (recvBuffer[packetHeader0] == headerNegValue && recvBuffer[packetHeader1] == headerNegValue)
    {
        return TransferStatus::Neg;
    }

    if (recvBuffer[packetHeader0] == headerValue && recvBuffer[packetHeader1] == headerValue)
    {
        if (recvLength < minFullPacketSize)
        {
            return TransferStatus::Neg;
        }

        uint8_t messageId = recvBuffer[packetHeaderMessageId];
        size_t messageLength = recvBuffer[packetHeaderMessageLength];

        if ((messageLength + metadataSize) != recvLength)
        {
            return TransferStatus::Error;
        }

        uint8_t crc = crc8(recvBuffer, messageLength + headerSize, crcPolynom, crcInitilalValue, false);

        if (crc != recvBuffer[messageLength + headerSize])
        {
            return TransferStatus::Error;
        }

        if (packet.dataPtr)
        {
            packet.length = std::min(static_cast<uint8_t>(messageLength), packet.length);
            memcpy(packet.dataPtr, recvBuffer + headerSize, packet.length);
        }

        packet.messageId = messageId;

        return TransferStatus::Ok;
    }

    return TransferStatus::Error;
}

/**
 * @brief Serial port event callback. called every time, state of the uart port. Used to track buffers 
 * and enables data receive after command is sent via serial port.
 * 
 * @param dev  serial port device 
 * @param evt  serial port event
 * @param data pointer to instance of current instance of the serial port controller.
 */
void SerialController::SerialPortCallback(const device *dev, uart_event *evt, void *data)
{
    SerialController *self = static_cast<SerialController *>(data);

    switch (evt->type)
    {
    case UART_TX_DONE:
        self->recvLength = 0;
        uart_rx_enable(self->uartDevice, self->recvBuffer, sizeof(self->recvBuffer), 1);
        k_sem_give(&self->txSem);
        break;

    case UART_RX_RDY:
        uart_rx_disable(dev);
        self->recvLength += evt->data.rx.len;
        break;

    case UART_RX_BUF_RELEASED:
        k_sem_give(&self->rxSem);
        break;

    default:
        break;
    }
}

void SerialController::interrupt_handler(const struct device *dev, void *user_data)
{
	//ARG_UNUSED(user_data);
    SerialController *self = static_cast<SerialController *>(user_data);

	while (uart_irq_update(dev) && uart_irq_is_pending(dev)) {
		if (uart_irq_rx_ready(dev)) {        
		}

		if (uart_irq_tx_ready(dev)) {
			uint8_t buffer[64];
			int rb_len, send_len;
            //LOG_INF("Ready to send back!");
            uart_irq_tx_disable(dev);
          
		}

        if (uart_irq_tx_complete(dev)) {
            //LOG_INF("TX Complete!");
            k_sem_give(&self->txSem);
            //uart_irq_tx_disable(dev);
        }

	}
}

bool SerialController::IsInitialized(){
    bool status;
    status = serial_is_initialized_.load(std::memory_order_relaxed);
    return status;
}
```
